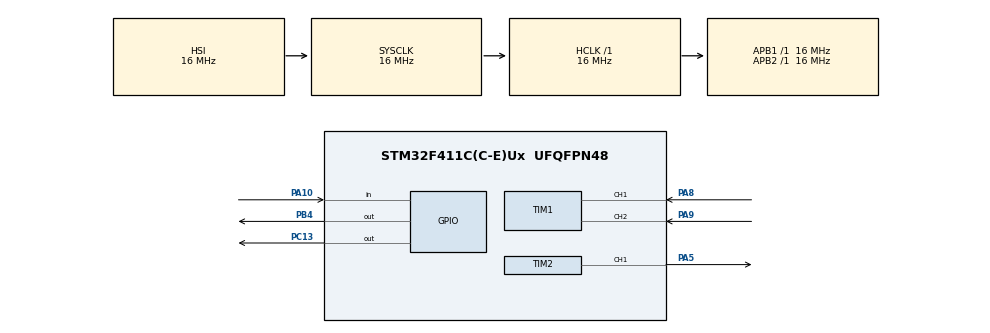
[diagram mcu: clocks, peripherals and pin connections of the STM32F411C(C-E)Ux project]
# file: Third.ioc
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Mcu.Family=STM32F4
Mcu.Name=STM32F411C(C-E)Ux
Mcu.Package=UFQFPN48
NVIC.PriorityGroup=NVIC_PRIORITYGROUP_4
NVIC.TIM1_CC_IRQn=true\:0\:0\:false\:false\:true\:true\:true\:true
PA0-WKUP.Mode=SYS_WakeUp0
PA0-WKUP.Signal=SYS_WKUP
PA10.Signal=GPIO_Input
PA13.Mode=Trace_Asynchronous_SW
PA13.Signal=SYS_JTMS-SWDIO
PA14.Mode=Trace_Asynchronous_SW
PA14.Signal=SYS_JTCK-SWCLK
PA5.Signal=S_TIM2_CH1_ETR
PA8.Signal=S_TIM1_CH1
PA9.Signal=S_TIM1_CH2
PB3.Mode=Trace_Asynchronous_SW
PB3.Signal=SYS_JTDO-SWO
PB4.Signal=GPIO_Output
PC13-ANTI_TAMP.Signal=GPIO_Output
ProjectManager.HeapSize=0x200
ProjectManager.StackSize=0x400
ProjectManager.TargetToolchain=STM32CubeIDE
RCC.AHBFreq_Value=16000000
RCC.APB1Freq_Value=16000000
RCC.APB2Freq_Value=16000000
RCC.CortexFreq_Value=16000000
RCC.HSE_VALUE=25000000
RCC.HSI_VALUE=16000000
RCC.LSE_VALUE=32768
RCC.SYSCLKFreq_VALUE=16000000
RCC.VCOOutputFreq_Value=192000000
SH.S_TIM1_CH1.0=TIM1_CH1,Encoder_Interface
SH.S_TIM1_CH2.0=TIM1_CH2,Encoder_Interface
SH.S_TIM2_CH1_ETR.0=TIM2_CH1,PWM Generation1 CH1
TIM1.EncoderMode=TIM_ENCODERMODE_TI12
TIM1.IC1Filter=15
TIM1.IC2Filter=15
TIM1.IC2Polarity=TIM_ICPOLARITY_FALLING
TIM2.Channel-PWM\ Generation1\ CH1=TIM_CHANNEL_1
TIM2.Period=19999
TIM2.Prescaler=15
board=custom

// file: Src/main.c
/* USER CODE BEGIN Header */
/**
  ******************************************************************************
  * @file           : main.c
  * @brief          : Main program body
  ******************************************************************************
  * @attention
  *
  * Copyright (c) 2026 STMicroelectronics.
  * All rights reserved.
  *
  * This software is licensed under terms that can be found in the LICENSE file
  * in the root directory of this software component.
  * If no LICENSE file comes with this software, it is provided AS-IS.
  *
  ******************************************************************************
  */
/* USER CODE END Header */
#include "main.h"

/* USER CODE BEGIN Includes */
#include <stdio.h>
/* USER CODE END Includes */

TIM_HandleTypeDef htim1;
TIM_HandleTypeDef htim2;

/* USER CODE BEGIN PV */
static const int16_t ENCODER_STEP = 50;
static const int16_t SERVO_HIGH = 2500;
static const int16_t SERVO_LOW = 500;

static volatile int step_up_flag = 0;
static volatile int step_down_flag = 0;
static int servo_value_changed = 0;

static int16_t servo_value = 500;

/* USER CODE END PV */

void SystemClock_Config(void);
static void MX_GPIO_Init(void);
static void MX_TIM1_Init(void);
static void MX_TIM2_Init(void);

/* USER CODE BEGIN 0 */
int _write(int file, char *ptr, int len)
{
  int i;
  for (i = 0; i < len; i++)
  {
    // Відправляємо кожен символ у нульовий канал ITM
    ITM_SendChar((*ptr++));
  }
  return len;
}
/* USER CODE END 0 */

int main(void)
{

  /* MCU Configuration--------------------------------------------------------*/

  /* Reset of all peripherals, Initializes the Flash interface and the Systick. */
  HAL_Init();

  /* Configure the system clock */
  SystemClock_Config();

  /* Initialize all configured peripherals */
  MX_GPIO_Init();
  MX_TIM1_Init();
  MX_TIM2_Init();
  /* USER CODE BEGIN 2 */
  /* Start the Encoder Mode on Timer 1, tracking both channels */
  HAL_TIM_Encoder_Start(&htim1, TIM_CHANNEL_ALL);
  // Enable capture interrupts on both encoder input channels
  // Callback doesn't work without it. Requires manual flag reset
  SET_BIT(TIM1->DIER, TIM_DIER_CC1IE | TIM_DIER_CC2IE);

  // Start PWM on TIM2 Channel 1
  HAL_TIM_PWM_Start(&htim2, TIM_CHANNEL_1);
  __HAL_TIM_SET_COMPARE(&htim2, TIM_CHANNEL_1, SERVO_LOW);
  /* USER CODE END 2 */

  /* Infinite loop */
  while (1)
  {

    /* USER CODE BEGIN 3 */
    if (step_up_flag)
    {
      servo_value = servo_value + ENCODER_STEP;
      if (servo_value > SERVO_HIGH) servo_value = SERVO_HIGH;
      servo_value_changed = 1;
      step_up_flag = 0;
    }
    if (step_down_flag)
    {
      servo_value = servo_value - ENCODER_STEP;
      if (servo_value < SERVO_LOW) servo_value = SERVO_LOW;
      servo_value_changed = 1;
      step_down_flag = 0;
    }
    if (servo_value_changed)
    {
      __HAL_TIM_SET_COMPARE(&htim2, TIM_CHANNEL_1, servo_value);
      servo_value_changed = 0;
	  }
  }
  /* USER CODE END 3 */
}

void SystemClock_Config(void)
{
  RCC_OscInitTypeDef RCC_OscInitStruct = {0};
  RCC_ClkInitTypeDef RCC_ClkInitStruct = {0};

  /** Configure the main internal regulator output voltage
  */
  __HAL_RCC_PWR_CLK_ENABLE();
  __HAL_PWR_VOLTAGESCALING_CONFIG(PWR_REGULATOR_VOLTAGE_SCALE1);

  /** Initializes the RCC Oscillators according to the specified parameters
  * in the RCC_OscInitTypeDef structure.
  */
  RCC_OscInitStruct.OscillatorType = RCC_OSCILLATORTYPE_HSI;
  RCC_OscInitStruct.HSIState = RCC_HSI_ON;
  RCC_OscInitStruct.HSICalibrationValue = RCC_HSICALIBRATION_DEFAULT;
  RCC_OscInitStruct.PLL.PLLState = RCC_PLL_NONE;
  if (HAL_RCC_OscConfig(&RCC_OscInitStruct) != HAL_OK)
  {
    Error_Handler();
  }

  /** Initializes the CPU, AHB and APB buses clocks
  */
  RCC_ClkInitStruct.ClockType = RCC_CLOCKTYPE_HCLK|RCC_CLOCKTYPE_SYSCLK
                              |RCC_CLOCKTYPE_PCLK1|RCC_CLOCKTYPE_PCLK2;
  RCC_ClkInitStruct.SYSCLKSource = RCC_SYSCLKSOURCE_HSI;
  RCC_ClkInitStruct.AHBCLKDivider = RCC_SYSCLK_DIV1;
  RCC_ClkInitStruct.APB1CLKDivider = RCC_HCLK_DIV1;
  RCC_ClkInitStruct.APB2CLKDivider = RCC_HCLK_DIV1;

  if (HAL_RCC_ClockConfig(&RCC_ClkInitStruct, FLASH_LATENCY_0) != HAL_OK)
  {
    Error_Handler();
  }
}

static void MX_TIM1_Init(void)
{

  TIM_Encoder_InitTypeDef sConfig = {0};
  TIM_MasterConfigTypeDef sMasterConfig = {0};

  htim1.Instance = TIM1;
  htim1.Init.Prescaler = 0;
  htim1.Init.CounterMode = TIM_COUNTERMODE_UP;
  htim1.Init.Period = 65535;
  htim1.Init.ClockDivision = TIM_CLOCKDIVISION_DIV1;
  htim1.Init.RepetitionCounter = 0;
  htim1.Init.AutoReloadPreload = TIM_AUTORELOAD_PRELOAD_DISABLE;
  sConfig.EncoderMode = TIM_ENCODERMODE_TI12;
  sConfig.IC1Polarity = TIM_ICPOLARITY_RISING;
  sConfig.IC1Selection = TIM_ICSELECTION_DIRECTTI;
  sConfig.IC1Prescaler = TIM_ICPSC_DIV1;
  sConfig.IC1Filter = 15;
  sConfig.IC2Polarity = TIM_ICPOLARITY_FALLING;
  sConfig.IC2Selection = TIM_ICSELECTION_DIRECTTI;
  sConfig.IC2Prescaler = TIM_ICPSC_DIV1;
  sConfig.IC2Filter = 15;
  if (HAL_TIM_Encoder_Init(&htim1, &sConfig) != HAL_OK)
  {
    Error_Handler();
  }
  sMasterConfig.MasterOutputTrigger = TIM_TRGO_RESET;
  sMasterConfig.MasterSlaveMode = TIM_MASTERSLAVEMODE_DISABLE;
  if (HAL_TIMEx_MasterConfigSynchronization(&htim1, &sMasterConfig) != HAL_OK)
  {
    Error_Handler();
  }

}

static void MX_TIM2_Init(void)
{

  TIM_MasterConfigTypeDef sMasterConfig = {0};
  TIM_OC_InitTypeDef sConfigOC = {0};

  htim2.Instance = TIM2;
  htim2.Init.Prescaler = 15;
  htim2.Init.CounterMode = TIM_COUNTERMODE_UP;
  htim2.Init.Period = 19999;
  htim2.Init.ClockDivision = TIM_CLOCKDIVISION_DIV1;
  htim2.Init.AutoReloadPreload = TIM_AUTORELOAD_PRELOAD_DISABLE;
  if (HAL_TIM_PWM_Init(&htim2) != HAL_OK)
  {
    Error_Handler();
  }
  sMasterConfig.MasterOutputTrigger = TIM_TRGO_RESET;
  sMasterConfig.MasterSlaveMode = TIM_MASTERSLAVEMODE_DISABLE;
  if (HAL_TIMEx_MasterConfigSynchronization(&htim2, &sMasterConfig) != HAL_OK)
  {
    Error_Handler();
  }
  sConfigOC.OCMode = TIM_OCMODE_PWM1;
  sConfigOC.Pulse = 0;
  sConfigOC.OCPolarity = TIM_OCPOLARITY_HIGH;
  sConfigOC.OCFastMode = TIM_OCFAST_DISABLE;
  if (HAL_TIM_PWM_ConfigChannel(&htim2, &sConfigOC, TIM_CHANNEL_1) != HAL_OK)
  {
    Error_Handler();
  }
  HAL_TIM_MspPostInit(&htim2);

}

static void MX_GPIO_Init(void)
{
  GPIO_InitTypeDef GPIO_InitStruct = {0};

  /* GPIO Ports Clock Enable */
  __HAL_RCC_GPIOC_CLK_ENABLE();
  __HAL_RCC_GPIOA_CLK_ENABLE();
  __HAL_RCC_GPIOB_CLK_ENABLE();

  /*Configure GPIO pin Output Level */
  HAL_GPIO_WritePin(GPIOC, GPIO_PIN_13, GPIO_PIN_RESET);

  /*Configure GPIO pin Output Level */
  HAL_GPIO_WritePin(GPIOB, GPIO_PIN_4, GPIO_PIN_RESET);

  /*Configure GPIO pin : PC13 */
  GPIO_InitStruct.Pin = GPIO_PIN_13;
  GPIO_InitStruct.Mode = GPIO_MODE_OUTPUT_PP;
  GPIO_InitStruct.Pull = GPIO_NOPULL;
  GPIO_InitStruct.Speed = GPIO_SPEED_FREQ_LOW;
  HAL_GPIO_Init(GPIOC, &GPIO_InitStruct);

  /*Configure GPIO pin : PA10 */
  GPIO_InitStruct.Pin = GPIO_PIN_10;
  GPIO_InitStruct.Mode = GPIO_MODE_INPUT;
  GPIO_InitStruct.Pull = GPIO_NOPULL;
  HAL_GPIO_Init(GPIOA, &GPIO_InitStruct);

  /*Configure GPIO pin : PB4 */
  GPIO_InitStruct.Pin = GPIO_PIN_4;
  GPIO_InitStruct.Mode = GPIO_MODE_OUTPUT_PP;
  GPIO_InitStruct.Pull = GPIO_NOPULL;
  GPIO_InitStruct.Speed = GPIO_SPEED_FREQ_LOW;
  HAL_GPIO_Init(GPIOB, &GPIO_InitStruct);

}

/* USER CODE BEGIN 4 */
void HAL_TIM_IC_CaptureCallback(TIM_HandleTypeDef *htim)
{
  if (htim->Instance == TIM1)
  {
    // 1. Flag reset
    __HAL_TIM_CLEAR_IT(htim, TIM_IT_CC1 | TIM_IT_CC2);

    // 2. (Optional) Read direction: 0 = Up (CW), 1 = Down (CCW)
    uint8_t direction = __HAL_TIM_IS_TIM_COUNTING_DOWN(&htim1);

    // 3. Set internal flags
    if (direction) {
      step_up_flag = 1;
    }
    else {
      step_down_flag = 1;
    }
  }
}
/* USER CODE END 4 */

void Error_Handler(void)
{
  __disable_irq();
  while (1)
  {
  }
}
